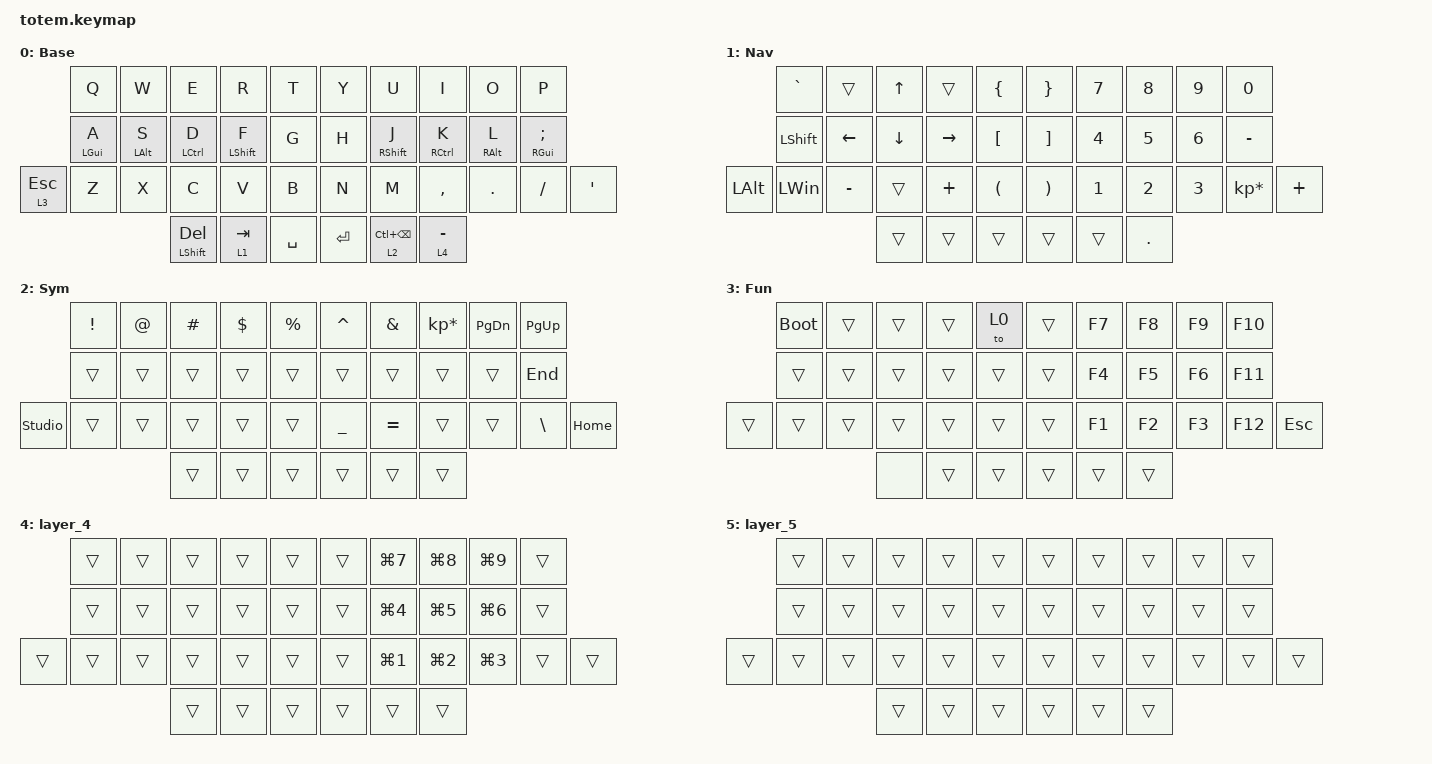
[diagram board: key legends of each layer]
//
//                                                        ▀▀▀▀▀     ▀▀▀▀▀          ▀▀█▀▀
//                                                        ▄▀▀▀▄  ▄  ▄▀▀▀▄  ▄  ▄▀▀▀▄  █  ▄▀▀▀▄
//                                                        █   █  █  █   █  █  █   █  █  █   █
//                                                         ▀▀▀   █   ▀▀▀   █   ▀▀▀   ▀   ▀▀▀
//                                                               █      ▄▄▄█▄▄▄    █   █  
//                                                               ▀      █  █  █     █▄█
//                                                             ▀▀▀▀▀    █  █  █      ▀
//                                                                      ▀  ▀  ▀
//
// ▄▄▄▄▄▄▄▄▄▄▄▄▄▄▄▄▄▄▄▄▄▄▄▄▄▄▄▄▄▄▄▄▄▄▄▄▄▄▄▄▄▄▄▄▄▄▄▄▄▄▄▄▄▄▄▄▄▄▄▄▄▄▄▄▄▄▄▄▄▄▄▄▄▄▄▄▄▄▄▄▄▄▄▄▄▄▄▄▄▄▄▄▄▄▄▄▄▄▄▄▄▄▄▄▄▄▄▄▄▄▄▄▄▄▄▄▄▄▄▄▄▄▄▄▄▄▄▄▄▄▄▄▄▄▄▄▄▄▄▄▄▄▄▄▄▄▄▄▄

#include <behaviors.dtsi>
#include <dt-bindings/zmk/keys.h>

#define Base        0
#define Nav         1
#define Sym         2
#define Fun         3
#define Game        4
#define Gameplus    5

&mt {
    quick-tap-ms = <100>;
    global-quick-tap;
    flavor = "tap-preferred";
    tapping-term-ms = <170>;
};

&lt {
    tapping-term-ms = <240>;
    flavor = "balanced";
    quick-tap-ms = <150>;
};

/ {
    behaviors {
        hm: homerow_mods {
            compatible = "zmk,behavior-hold-tap";
            label = "HOMEROW_MODS";
            #binding-cells = <2>;
            flavor = "tap-preferred";
            tapping-term-ms = <200>;
            quick-tap-ms = <125>;
            global-quick-tap;
            bindings = <&kp>, <&kp>;
        };
    };

    combos {
        compatible = "zmk,combos";

        ctrl-backspace {
            bindings = <&kp BACKSPACE>;
            key-positions = <36 16>;
        };

        Up {
            bindings = <&kp UP_ARROW>;
            key-positions = <25 33>;
        };

        Down {
            bindings = <&kp DOWN>;
            key-positions = <24 32>;
        };

        Right {
            bindings = <&kp RIGHT>;
            key-positions = <33 34>;
        };

        LeftArrow {
            bindings = <&kp LEFT_ARROW>;
            key-positions = <32 33>;
        };

        Copy {
            bindings = <&kp K_COPY>;
            key-positions = <23 22>;
        };

        Paste {
            bindings = <&kp K_PASTE>;
            key-positions = <23 24>;
        };
    };

    macros {
        new_macro: new_macro {
            compatible = "zmk,behavior-macro";
            #binding-cells = <0>;
            bindings = <&none>, <&macro_press>;

            label = "NEW_MACRO";
        };
    };

    keymap {
        compatible = "zmk,keymap";

        Base {
            display-name = "Base";
            bindings = <
              &kp Q       &kp W       &kp E               &kp R         &kp T        &kp Y    &kp U           &kp I        &kp O       &kp P
              &hm LGUI A  &hm LALT S  &hm LCTRL D         &hm LSHIFT F  &kp G        &kp H    &hm RSHFT J     &hm RCTRL K  &hm RALT L  &hm RGUI SEMICOLON
&lt 3 ESCAPE  &kp Z       &kp X       &kp C               &kp V         &kp B        &kp N    &kp M           &kp COMMA    &kp DOT     &kp SLASH           &kp APOSTROPHE
                                      &mt LEFT_SHIFT DEL  &lt 1 TAB     &kp SPACE    &kp RET  &lt 2 LC(BSPC)  &lt 4 MINUS
            >;
        };

        Nav {
            display-name = "Nav";
            bindings = <
              &kp GRAVE       &trans     &kp UP_ARROW  &trans     &kp LBRC    &kp RBRC  &kp NUMBER_7  &kp NUMBER_8  &kp NUMBER_9  &kp NUMBER_0
              &kp LEFT_SHIFT  &kp LEFT   &kp DOWN      &kp RIGHT  &kp LBKT    &kp RBKT  &kp NUMBER_4  &kp NUMBER_5  &kp NUMBER_6  &kp MINUS
&kp LEFT_ALT  &kp LEFT_WIN    &kp MINUS  &trans        &kp PLUS   &kp LPAR    &kp RPAR  &kp NUMBER_1  &kp NUMBER_2  &kp NUMBER_3  &kp KP_MULTIPLY  &kp PLUS
                                         &trans        &trans     &trans      &trans    &trans        &kp DOT
            >;
        };

        Sym {
            display-name = "Sym";
            bindings = <
                &kp EXCL  &kp AT  &kp HASH  &kp DOLLAR  &kp PERCENT    &kp CARET  &kp AMPERSAND  &kp KP_ASTERISK  &kp PAGE_DOWN  &kp PAGE_UP
                &trans    &trans  &trans    &trans      &trans         &trans     &trans         &trans           &trans         &kp END
&studio_unlock  &trans    &trans  &trans    &trans      &trans         &kp UNDER  &kp EQUAL      &trans           &trans         &kp BSLH     &kp HOME
                                  &trans    &trans      &trans         &trans     &trans         &trans
            >;
        };

        Fun {
            display-name = "Fun";
            bindings = <
        &bootloader  &trans  &trans  &trans  &to 0     &trans  &kp F7  &kp F8  &kp F9  &kp F10
        &trans       &trans  &trans  &trans  &trans    &trans  &kp F4  &kp F5  &kp F6  &kp F11
&trans  &trans       &trans  &trans  &trans  &trans    &trans  &kp F1  &kp F2  &kp F3  &kp F12  &kp ESC
                             &none   &trans  &trans    &trans  &trans  &trans
            >;
        };

        layer_4 {
            bindings = <
        &trans  &trans  &trans  &trans  &trans    &trans  &kp LG(N7)  &kp LG(N8)  &kp LG(N9)  &trans
        &trans  &trans  &trans  &trans  &trans    &trans  &kp LG(N4)  &kp LG(N5)  &kp LG(N6)  &trans
&trans  &trans  &trans  &trans  &trans  &trans    &trans  &kp LG(N1)  &kp LG(N2)  &kp LG(N3)  &trans  &trans
                        &trans  &trans  &trans    &trans  &trans      &trans
            >;
        };

        layer_5 {
            bindings = <
        &trans  &trans  &trans  &trans  &trans    &trans  &trans  &trans  &trans  &trans
        &trans  &trans  &trans  &trans  &trans    &trans  &trans  &trans  &trans  &trans
&trans  &trans  &trans  &trans  &trans  &trans    &trans  &trans  &trans  &trans  &trans  &trans
                        &trans  &trans  &trans    &trans  &trans  &trans
            >;
        };
    };
};
